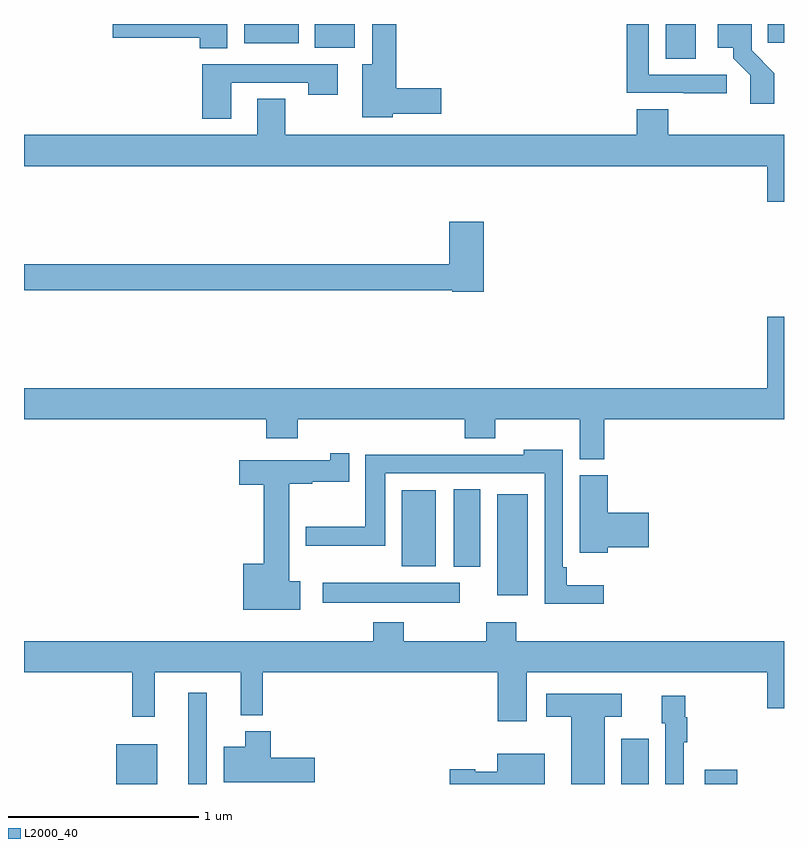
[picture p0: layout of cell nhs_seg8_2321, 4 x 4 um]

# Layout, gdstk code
import gdstk
lib = gdstk.Library(unit=1e-6, precision=1e-09)
def R(c, l, rs):  # rectangles x0, y0, x1, y1
    for r in rs: c.add(gdstk.rectangle(r[:2], r[2:], *l))
def P(c, l, *ps):  # polygons
    for p in ps: c.add(gdstk.Polygon(p, *l))
L2000_40 = (2000, 40)

nhs_seg8_2321 = lib.new_cell('nhs_seg8_2321')
R(nhs_seg8_2321, L2000_40, [(257.486,1127.9,257.701,1128.109), (257.864,1127.9,257.961,1128.379), (260.144,1127.9,260.287,1128.139), (260.582,1127.9,260.753,1127.974), (258.573,1128.854,259.294,1128.958), (259.49,1128.894,259.651,1129.426), (259.262,1129.043,259.402,1129.451), (258.989,1129.046,259.168,1129.447), (260.378,1131.718,260.536,1131.9), (258.53,1131.776,258.742,1131.9), (258.158,1131.8,258.445,1131.9), (260.914,1131.802,261,1131.9)])
P(nhs_seg8_2321, L2000_40, [(260.948,1131.642),(260.829,1131.761),(260.829,1131.9),(260.652,1131.9),(260.652,1131.776),(260.732,1131.776),(260.732,1131.721),(260.823,1131.631),(260.823,1131.48),(260.948,1131.48)],
  [(260.698,1131.633),(260.289,1131.633),(260.289,1131.9),(260.173,1131.9),(260.173,1131.537),(260.473,1131.537),(260.473,1131.535),(260.698,1131.535)],
  [(258.942,1131.428),(259.195,1131.428),(259.195,1131.563),(258.959,1131.563),(258.959,1131.9),(258.833,1131.9),(258.833,1131.688),(258.779,1131.688),(258.779,1131.41),(258.942,1131.41)],
  [(258.07,1131.9),(257.466,1131.9),(257.466,1131.827),(257.924,1131.827),(257.924,1131.772),(258.07,1131.772)],
  [(258.091,1131.591),(258.496,1131.591),(258.496,1131.528),(258.652,1131.528),(258.652,1131.687),(257.939,1131.687),(257.939,1131.402),(258.091,1131.402)],
  [(261,1131.316),(260.39,1131.316),(260.39,1131.452),(260.225,1131.452),(260.225,1131.316),(258.375,1131.316),(258.375,1131.506),(258.227,1131.506),(258.227,1131.316),(257,1131.316),(257,1131.152),(260.912,1131.152),(260.912,1130.964),(261,1130.964)],
  [(259.421,1130.86),(259.238,1130.86),(259.238,1130.636),(257,1130.636),(257,1130.5),(259.254,1130.5),(259.254,1130.492),(259.421,1130.492)],
  [(260.054,1129.82),(261,1129.82),(261,1130.359),(260.912,1130.359),(260.912,1129.984),(257,1129.984),(257,1129.82),(258.275,1129.82),(258.275,1129.721),(258.44,1129.721),(258.44,1129.82),(259.319,1129.82),(259.319,1129.721),(259.479,1129.721),(259.479,1129.82),(259.925,1129.82),(259.925,1129.609),(260.054,1129.609)],
  [(260.05,1128.946),(259.856,1128.946),(259.856,1129.042),(259.836,1129.042),(259.836,1129.66),(259.629,1129.66),(259.629,1129.632),(259.235,1129.632),(259.235,1129.634),(258.797,1129.634),(258.797,1129.254),(258.482,1129.254),(258.482,1129.154),(258.901,1129.154),(258.901,1129.536),(259.74,1129.536),(259.74,1128.848),(260.05,1128.848)],
  [(258.454,1128.968),(258.397,1128.968),(258.397,1129.481),(258.516,1129.481),(258.516,1129.492),(258.712,1129.492),(258.712,1129.642),(258.612,1129.642),(258.612,1129.603),(258.132,1129.603),(258.132,1129.474),(258.263,1129.474),(258.263,1129.06),(258.155,1129.06),(258.155,1128.818),(258.454,1128.818)],
  [(260.072,1129.145),(260.287,1129.145),(260.287,1129.328),(260.072,1129.328),(260.072,1129.524),(259.925,1129.524),(259.925,1129.118),(260.072,1129.118)],
  [(259.645,1128.488),(260.912,1128.488),(260.912,1128.3),(261,1128.3),(261,1128.652),(259.592,1128.652),(259.592,1128.751),(259.432,1128.751),(259.432,1128.652),(258.999,1128.652),(258.999,1128.751),(258.839,1128.751),(258.839,1128.652),(257,1128.652),(257,1128.488),(257.569,1128.488),(257.569,1128.255),(257.687,1128.255),(257.687,1128.488),(258.14,1128.488),(258.14,1128.263),(258.257,1128.263),(258.257,1128.488),(259.493,1128.488),(259.493,1128.231),(259.645,1128.231)],
  [(260.056,1128.254),(260.146,1128.254),(260.146,1128.376),(259.749,1128.376),(259.749,1128.254),(259.88,1128.254),(259.88,1127.9),(260.056,1127.9)],
  [(260.472,1128.119),(260.492,1128.119),(260.492,1128.251),(260.48,1128.251),(260.48,1128.364),(260.357,1128.364),(260.357,1128.219),(260.376,1128.219),(260.376,1127.9),(260.472,1127.9)],
  [(258.529,1128.039),(258.299,1128.039),(258.299,1128.178),(258.164,1128.178),(258.164,1128.097),(258.05,1128.097),(258.05,1127.909),(258.529,1127.909)],
  [(259.741,1128.058),(259.49,1128.058),(259.49,1127.965),(259.374,1127.965),(259.374,1127.978),(259.242,1127.978),(259.242,1127.9),(259.741,1127.9)])

lib.write_gds('nhs_seg8_2321.gds')
